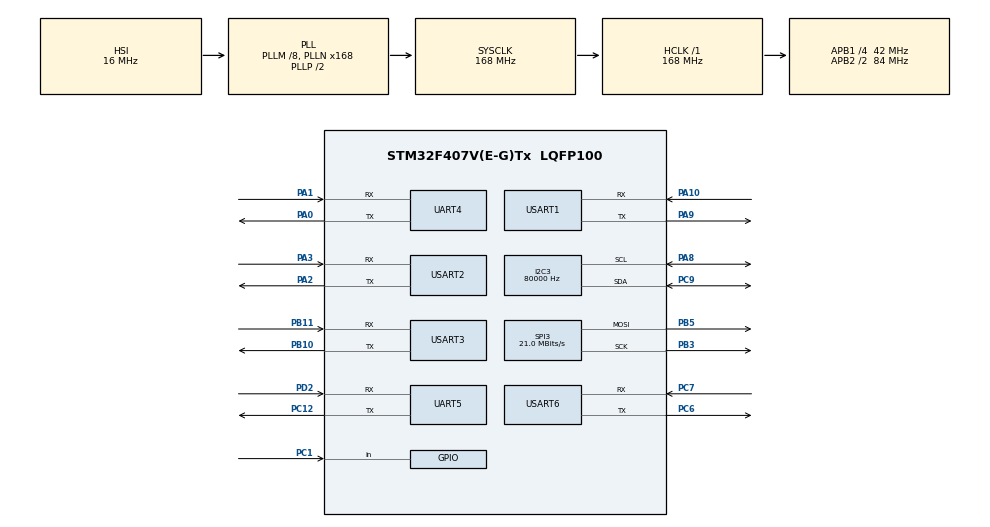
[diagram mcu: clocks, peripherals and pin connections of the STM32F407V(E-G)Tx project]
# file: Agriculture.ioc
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Dma.Request0=USART1_RX
Dma.Request1=USART1_TX
Dma.Request10=USART6_RX
Dma.Request11=USART6_TX
Dma.Request2=USART2_RX
Dma.Request3=USART2_TX
Dma.Request4=USART3_RX
Dma.Request5=USART3_TX
Dma.Request6=UART5_RX
Dma.Request7=UART5_TX
Dma.Request8=UART4_RX
Dma.Request9=UART4_TX
Dma.UART4_RX.8.Direction=DMA_PERIPH_TO_MEMORY
Dma.UART4_RX.8.FIFOMode=DMA_FIFOMODE_DISABLE
Dma.UART4_RX.8.Instance=DMA1_Stream2
Dma.UART4_RX.8.MemDataAlignment=DMA_MDATAALIGN_BYTE
Dma.UART4_RX.8.MemInc=DMA_MINC_ENABLE
Dma.UART4_RX.8.Mode=DMA_CIRCULAR
Dma.UART4_RX.8.PeriphDataAlignment=DMA_PDATAALIGN_BYTE
Dma.UART4_RX.8.PeriphInc=DMA_PINC_DISABLE
Dma.UART4_RX.8.Priority=DMA_PRIORITY_LOW
Dma.UART4_TX.9.Direction=DMA_MEMORY_TO_PERIPH
Dma.UART4_TX.9.FIFOMode=DMA_FIFOMODE_DISABLE
Dma.UART4_TX.9.Instance=DMA1_Stream4
Dma.UART4_TX.9.MemDataAlignment=DMA_MDATAALIGN_BYTE
Dma.UART4_TX.9.MemInc=DMA_MINC_ENABLE
Dma.UART4_TX.9.Mode=DMA_NORMAL
Dma.UART4_TX.9.PeriphDataAlignment=DMA_PDATAALIGN_BYTE
Dma.UART4_TX.9.PeriphInc=DMA_PINC_DISABLE
Dma.UART4_TX.9.Priority=DMA_PRIORITY_LOW
Dma.UART5_RX.6.Direction=DMA_PERIPH_TO_MEMORY
Dma.UART5_RX.6.FIFOMode=DMA_FIFOMODE_DISABLE
Dma.UART5_RX.6.Instance=DMA1_Stream0
Dma.UART5_RX.6.MemDataAlignment=DMA_MDATAALIGN_BYTE
Dma.UART5_RX.6.MemInc=DMA_MINC_ENABLE
Dma.UART5_RX.6.Mode=DMA_CIRCULAR
Dma.UART5_RX.6.PeriphDataAlignment=DMA_PDATAALIGN_BYTE
Dma.UART5_RX.6.PeriphInc=DMA_PINC_DISABLE
Dma.UART5_RX.6.Priority=DMA_PRIORITY_LOW
Dma.UART5_TX.7.Direction=DMA_MEMORY_TO_PERIPH
Dma.UART5_TX.7.FIFOMode=DMA_FIFOMODE_DISABLE
Dma.UART5_TX.7.Instance=DMA1_Stream7
Dma.UART5_TX.7.MemDataAlignment=DMA_MDATAALIGN_BYTE
Dma.UART5_TX.7.MemInc=DMA_MINC_ENABLE
Dma.UART5_TX.7.Mode=DMA_NORMAL
Dma.UART5_TX.7.PeriphDataAlignment=DMA_PDATAALIGN_BYTE
Dma.UART5_TX.7.PeriphInc=DMA_PINC_DISABLE
Dma.UART5_TX.7.Priority=DMA_PRIORITY_LOW
Dma.USART1_RX.0.Direction=DMA_PERIPH_TO_MEMORY
Dma.USART1_RX.0.FIFOMode=DMA_FIFOMODE_DISABLE
Dma.USART1_RX.0.Instance=DMA2_Stream2
Dma.USART1_RX.0.MemDataAlignment=DMA_MDATAALIGN_BYTE
Dma.USART1_RX.0.MemInc=DMA_MINC_ENABLE
Dma.USART1_RX.0.Mode=DMA_CIRCULAR
Dma.USART1_RX.0.PeriphDataAlignment=DMA_PDATAALIGN_BYTE
Dma.USART1_RX.0.PeriphInc=DMA_PINC_DISABLE
Dma.USART1_RX.0.Priority=DMA_PRIORITY_LOW
Dma.USART1_TX.1.Direction=DMA_MEMORY_TO_PERIPH
Dma.USART1_TX.1.FIFOMode=DMA_FIFOMODE_DISABLE
Dma.USART1_TX.1.Instance=DMA2_Stream7
Dma.USART1_TX.1.MemDataAlignment=DMA_MDATAALIGN_BYTE
Dma.USART1_TX.1.MemInc=DMA_MINC_ENABLE
Dma.USART1_TX.1.Mode=DMA_NORMAL
Dma.USART1_TX.1.PeriphDataAlignment=DMA_PDATAALIGN_BYTE
Dma.USART1_TX.1.PeriphInc=DMA_PINC_DISABLE
Dma.USART1_TX.1.Priority=DMA_PRIORITY_LOW
Dma.USART2_RX.2.Direction=DMA_PERIPH_TO_MEMORY
Dma.USART2_RX.2.FIFOMode=DMA_FIFOMODE_DISABLE
Dma.USART2_RX.2.Instance=DMA1_Stream5
Dma.USART2_RX.2.MemDataAlignment=DMA_MDATAALIGN_BYTE
Dma.USART2_RX.2.MemInc=DMA_MINC_ENABLE
Dma.USART2_RX.2.Mode=DMA_CIRCULAR
Dma.USART2_RX.2.PeriphDataAlignment=DMA_PDATAALIGN_BYTE
Dma.USART2_RX.2.PeriphInc=DMA_PINC_DISABLE
Dma.USART2_RX.2.Priority=DMA_PRIORITY_LOW
Dma.USART2_TX.3.Direction=DMA_MEMORY_TO_PERIPH
Dma.USART2_TX.3.FIFOMode=DMA_FIFOMODE_DISABLE
Dma.USART2_TX.3.Instance=DMA1_Stream6
Dma.USART2_TX.3.MemDataAlignment=DMA_MDATAALIGN_BYTE
Dma.USART2_TX.3.MemInc=DMA_MINC_ENABLE
Dma.USART2_TX.3.Mode=DMA_NORMAL
Dma.USART2_TX.3.PeriphDataAlignment=DMA_PDATAALIGN_BYTE
Dma.USART2_TX.3.PeriphInc=DMA_PINC_DISABLE
Dma.USART2_TX.3.Priority=DMA_PRIORITY_LOW
Dma.USART3_RX.4.Direction=DMA_PERIPH_TO_MEMORY
Dma.USART3_RX.4.FIFOMode=DMA_FIFOMODE_DISABLE
Dma.USART3_RX.4.Instance=DMA1_Stream1
Dma.USART3_RX.4.MemDataAlignment=DMA_MDATAALIGN_BYTE
Dma.USART3_RX.4.MemInc=DMA_MINC_ENABLE
Dma.USART3_RX.4.Mode=DMA_CIRCULAR
Dma.USART3_RX.4.PeriphDataAlignment=DMA_PDATAALIGN_BYTE
Dma.USART3_RX.4.PeriphInc=DMA_PINC_DISABLE
Dma.USART3_RX.4.Priority=DMA_PRIORITY_LOW
Dma.USART3_TX.5.Direction=DMA_MEMORY_TO_PERIPH
Dma.USART3_TX.5.FIFOMode=DMA_FIFOMODE_DISABLE
Dma.USART3_TX.5.Instance=DMA1_Stream3
Dma.USART3_TX.5.MemDataAlignment=DMA_MDATAALIGN_BYTE
Dma.USART3_TX.5.MemInc=DMA_MINC_ENABLE
Dma.USART3_TX.5.Mode=DMA_NORMAL
Dma.USART3_TX.5.PeriphDataAlignment=DMA_PDATAALIGN_BYTE
Dma.USART3_TX.5.PeriphInc=DMA_PINC_DISABLE
Dma.USART3_TX.5.Priority=DMA_PRIORITY_LOW
Dma.USART6_RX.10.Direction=DMA_PERIPH_TO_MEMORY
Dma.USART6_RX.10.FIFOMode=DMA_FIFOMODE_DISABLE
Dma.USART6_RX.10.Instance=DMA2_Stream1
Dma.USART6_RX.10.MemDataAlignment=DMA_MDATAALIGN_BYTE
Dma.USART6_RX.10.MemInc=DMA_MINC_ENABLE
Dma.USART6_RX.10.Mode=DMA_CIRCULAR
Dma.USART6_RX.10.PeriphDataAlignment=DMA_PDATAALIGN_BYTE
Dma.USART6_RX.10.PeriphInc=DMA_PINC_DISABLE
Dma.USART6_RX.10.Priority=DMA_PRIORITY_LOW
Dma.USART6_TX.11.Direction=DMA_MEMORY_TO_PERIPH
Dma.USART6_TX.11.FIFOMode=DMA_FIFOMODE_DISABLE
Dma.USART6_TX.11.Instance=DMA2_Stream6
Dma.USART6_TX.11.MemDataAlignment=DMA_MDATAALIGN_BYTE
Dma.USART6_TX.11.MemInc=DMA_MINC_ENABLE
Dma.USART6_TX.11.Mode=DMA_NORMAL
Dma.USART6_TX.11.PeriphDataAlignment=DMA_PDATAALIGN_BYTE
Dma.USART6_TX.11.PeriphInc=DMA_PINC_DISABLE
Dma.USART6_TX.11.Priority=DMA_PRIORITY_LOW
FREERTOS.Tasks01=Chassis_Task,17,512,StartChassis_Task,Default,NULL,Dynamic,NULL,NULL;Data_Task,40,512,StartData_Task,Default,NULL,Dynamic,NULL,NULL;Tower_Task,32,512,StartTask03,Default,NULL,Dynamic,NULL,NULL
FREERTOS.configMINIMAL_STACK_SIZE=512
FREERTOS.configTOTAL_HEAP_SIZE=40000
I2C3.ClockSpeed=80000
Mcu.Family=STM32F4
Mcu.Name=STM32F407V(E-G)Tx
Mcu.Package=LQFP100
NVIC.DMA1_Stream0_IRQn=true\:5\:0\:false\:false\:true\:true\:false\:true\:true
NVIC.DMA1_Stream1_IRQn=true\:5\:0\:false\:false\:true\:true\:false\:true\:true
NVIC.DMA1_Stream2_IRQn=true\:5\:0\:false\:false\:true\:true\:false\:true\:true
NVIC.DMA1_Stream3_IRQn=true\:5\:0\:false\:false\:true\:true\:false\:true\:true
NVIC.DMA1_Stream4_IRQn=true\:5\:0\:false\:false\:true\:true\:false\:true\:true
NVIC.DMA1_Stream5_IRQn=true\:5\:0\:false\:false\:true\:true\:false\:true\:true
NVIC.DMA1_Stream6_IRQn=true\:5\:0\:false\:false\:true\:true\:false\:true\:true
NVIC.DMA1_Stream7_IRQn=true\:5\:0\:false\:false\:true\:true\:false\:true\:true
NVIC.DMA2_Stream1_IRQn=true\:5\:0\:false\:false\:true\:true\:false\:true\:true
NVIC.DMA2_Stream2_IRQn=true\:5\:0\:false\:false\:true\:true\:false\:true\:true
NVIC.DMA2_Stream6_IRQn=true\:5\:0\:false\:false\:true\:true\:false\:true\:true
NVIC.DMA2_Stream7_IRQn=true\:5\:0\:false\:false\:true\:true\:false\:true\:true
NVIC.PriorityGroup=NVIC_PRIORITYGROUP_4
NVIC.TIM6_DAC_IRQn=true\:15\:0\:false\:false\:true\:false\:false\:true\:true
NVIC.TimeBase=TIM6_DAC_IRQn
NVIC.TimeBaseIP=TIM6
NVIC.UART4_IRQn=true\:5\:0\:false\:false\:true\:true\:true\:true\:true
NVIC.UART5_IRQn=true\:5\:0\:false\:false\:true\:true\:false\:true\:true
NVIC.USART1_IRQn=true\:5\:0\:false\:false\:true\:true\:false\:true\:true
NVIC.USART2_IRQn=true\:5\:0\:false\:false\:true\:true\:false\:true\:true
NVIC.USART3_IRQn=true\:5\:0\:false\:false\:true\:true\:false\:true\:true
NVIC.USART6_IRQn=true\:5\:0\:false\:false\:true\:true\:true\:true\:true
PA0-WKUP.Mode=Asynchronous
PA0-WKUP.Signal=UART4_TX
PA1.Mode=Asynchronous
PA1.Signal=UART4_RX
PA10.Mode=Asynchronous
PA10.Signal=USART1_RX
PA13.Mode=Serial_Wire
PA13.Signal=SYS_JTMS-SWDIO
PA14.Mode=Serial_Wire
PA14.Signal=SYS_JTCK-SWCLK
PA2.Mode=Asynchronous
PA2.Signal=USART2_TX
PA3.Mode=Asynchronous
PA3.Signal=USART2_RX
PA8.GPIO_PuPd=GPIO_PULLUP
PA8.Mode=I2C
PA8.Signal=I2C3_SCL
PA9.Mode=Asynchronous
PA9.Signal=USART1_TX
PB10.Mode=Asynchronous
PB10.Signal=USART3_TX
PB11.Mode=Asynchronous
PB11.Signal=USART3_RX
PB3.Mode=TX_Only_Simplex_Unidirect_Master
PB3.Signal=SPI3_SCK
PB5.Mode=TX_Only_Simplex_Unidirect_Master
PB5.Signal=SPI3_MOSI
PC1.Signal=GPIO_Input
PC12.Mode=Asynchronous
PC12.Signal=UART5_TX
PC14-OSC32_IN.Mode=LSE-External-Oscillator
PC14-OSC32_IN.Signal=RCC_OSC32_IN
PC15-OSC32_OUT.Mode=LSE-External-Oscillator
PC15-OSC32_OUT.Signal=RCC_OSC32_OUT
PC6.Mode=Asynchronous
PC6.Signal=USART6_TX
PC7.Mode=Asynchronous
PC7.Signal=USART6_RX
PC9.GPIO_PuPd=GPIO_PULLUP
PC9.Mode=I2C
PC9.Signal=I2C3_SDA
PD2.Mode=Asynchronous
PD2.Signal=UART5_RX
PH0-OSC_IN.Mode=HSE-External-Oscillator
PH0-OSC_IN.Signal=RCC_OSC_IN
PH1-OSC_OUT.Mode=HSE-External-Oscillator
PH1-OSC_OUT.Signal=RCC_OSC_OUT
ProjectManager.HeapSize=0x200
ProjectManager.StackSize=0x400
ProjectManager.TargetToolchain=Makefile
RCC.48MHZClocksFreq_Value=84000000
RCC.AHBFreq_Value=168000000
RCC.APB1CLKDivider=RCC_HCLK_DIV4
RCC.APB1Freq_Value=42000000
RCC.APB1TimFreq_Value=84000000
RCC.APB2CLKDivider=RCC_HCLK_DIV2
RCC.APB2Freq_Value=84000000
RCC.APB2TimFreq_Value=168000000
RCC.CortexFreq_Value=168000000
RCC.HCLKFreq_Value=168000000
RCC.HSE_VALUE=25000000
RCC.HSI_VALUE=16000000
RCC.PLLM=8
RCC.PLLN=168
RCC.SYSCLKFreq_VALUE=168000000
RCC.SYSCLKSource=RCC_SYSCLKSOURCE_PLLCLK
RCC.VCOOutputFreq_Value=336000000
SPI3.BaudRatePrescaler=SPI_BAUDRATEPRESCALER_2
SPI3.CalculateBaudRate=21.0 MBits/s
SPI3.Direction=SPI_DIRECTION_2LINES
SPI3.Mode=SPI_MODE_MASTER
SPI3.VirtualType=VM_MASTER
UART4.VirtualMode=Asynchronous
UART5.VirtualMode=Asynchronous
USART1.VirtualMode=VM_ASYNC
USART2.VirtualMode=VM_ASYNC
USART3.VirtualMode=VM_ASYNC
USART6.VirtualMode=VM_ASYNC
VP_FREERTOS_VS_CMSIS_V2.Mode=CMSIS_V2
VP_SYS_VS_tim6.Mode=TIM6
board=custom

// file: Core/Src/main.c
/* USER CODE BEGIN Header */
/**
  ******************************************************************************
  * @file           : main.c
  * @brief          : Main program body
  ******************************************************************************
  * @attention
  *
  * Copyright (c) 2026 STMicroelectronics.
  * All rights reserved.
  *
  * This software is licensed under terms that can be found in the LICENSE file
  * in the root directory of this software component.
  * If no LICENSE file comes with this software, it is provided AS-IS.
  *
  ******************************************************************************
  */
/* USER CODE END Header */
#include "main.h"
#include "cmsis_os.h"
#include "dma.h"
#include "i2c.h"
#include "spi.h"
#include "usart.h"
#include "gpio.h"

/* USER CODE BEGIN Includes */
#include "lcd_spi_154.h"
#include "jetson_coord.h"
/* USER CODE END Includes */

void SystemClock_Config(void);
void MX_FREERTOS_Init(void);

int main(void)
{

  /* MCU Configuration--------------------------------------------------------*/

  /* Reset of all peripherals, Initializes the Flash interface and the Systick. */
  HAL_Init();

  /* Configure the system clock */
  SystemClock_Config();

  /* Initialize all configured peripherals */
  MX_GPIO_Init();
  MX_DMA_Init();
  MX_USART1_UART_Init();
  MX_USART2_UART_Init();
  MX_USART3_UART_Init();
  MX_UART5_Init();
  MX_SPI3_Init();
  MX_UART4_Init();
  MX_USART6_UART_Init();
  MX_I2C3_Init();
  /* USER CODE BEGIN 2 */
  SPI_LCD_Init();	  /* 初始化液晶屏 */
  Coord_Init();         /* 启动 UART4 单字节接收：上位机 Jetson 坐标 */
  /* USER CODE END 2 */

  /* Init scheduler */
  osKernelInitialize();  /* Call init function for freertos objects (in cmsis_os2.c) */
  MX_FREERTOS_Init();

  /* Start scheduler */
  osKernelStart();

  /* We should never get here as control is now taken by the scheduler */

  /* Infinite loop */
  while (1)
  {

  }
}

void SystemClock_Config(void)
{
  RCC_OscInitTypeDef RCC_OscInitStruct = {0};
  RCC_ClkInitTypeDef RCC_ClkInitStruct = {0};

  /** Configure the main internal regulator output voltage
  */
  __HAL_RCC_PWR_CLK_ENABLE();
  __HAL_PWR_VOLTAGESCALING_CONFIG(PWR_REGULATOR_VOLTAGE_SCALE1);

  /** Initializes the RCC Oscillators according to the specified parameters
  * in the RCC_OscInitTypeDef structure.
  */
  RCC_OscInitStruct.OscillatorType = RCC_OSCILLATORTYPE_HSI;
  RCC_OscInitStruct.HSIState = RCC_HSI_ON;
  RCC_OscInitStruct.HSICalibrationValue = RCC_HSICALIBRATION_DEFAULT;
  RCC_OscInitStruct.PLL.PLLState = RCC_PLL_ON;
  RCC_OscInitStruct.PLL.PLLSource = RCC_PLLSOURCE_HSI;
  RCC_OscInitStruct.PLL.PLLM = 8;
  RCC_OscInitStruct.PLL.PLLN = 168;
  RCC_OscInitStruct.PLL.PLLP = RCC_PLLP_DIV2;
  RCC_OscInitStruct.PLL.PLLQ = 4;
  if (HAL_RCC_OscConfig(&RCC_OscInitStruct) != HAL_OK)
  {
    Error_Handler();
  }

  /** Initializes the CPU, AHB and APB buses clocks
  */
  RCC_ClkInitStruct.ClockType = RCC_CLOCKTYPE_HCLK|RCC_CLOCKTYPE_SYSCLK
                              |RCC_CLOCKTYPE_PCLK1|RCC_CLOCKTYPE_PCLK2;
  RCC_ClkInitStruct.SYSCLKSource = RCC_SYSCLKSOURCE_PLLCLK;
  RCC_ClkInitStruct.AHBCLKDivider = RCC_SYSCLK_DIV1;
  RCC_ClkInitStruct.APB1CLKDivider = RCC_HCLK_DIV4;
  RCC_ClkInitStruct.APB2CLKDivider = RCC_HCLK_DIV2;

  if (HAL_RCC_ClockConfig(&RCC_ClkInitStruct, FLASH_LATENCY_5) != HAL_OK)
  {
    Error_Handler();
  }
}

void HAL_TIM_PeriodElapsedCallback(TIM_HandleTypeDef *htim)
{
  if (htim->Instance == TIM6)
  {
    HAL_IncTick();
  }
}

void Error_Handler(void)
{
  __disable_irq();
  while (1)
  {
  }
}

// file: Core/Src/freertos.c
/* USER CODE BEGIN Header */
/**
  ******************************************************************************
  * File Name          : freertos.c
  * Description        : Code for freertos applications
  ******************************************************************************
  * @attention
  *
  * Copyright (c) 2026 STMicroelectronics.
  * All rights reserved.
  *
  * This software is licensed under terms that can be found in the LICENSE file
  * in the root directory of this software component.
  * If no LICENSE file comes with this software, it is provided AS-IS.
  *
  ******************************************************************************
  */
/* USER CODE END Header */

#include "FreeRTOS.h"
#include "task.h"
#include "main.h"
#include "cmsis_os.h"

/* USER CODE BEGIN Includes */
#include "icm42688.h"
#include "laser.h"
#include "zdt_motor.h"
#include "tower_motor.h"
#include "jetson_coord.h"
#include "claw.h"
#include "lcd_spi_154.h"
#include "lcd_fonts.h"
#include <stdio.h>
#include <stdlib.h>
/* USER CODE END Includes */

/* USER CODE BEGIN PD */
#define IMU_LOOP_MS              10U
/* 麦轮按运动方向选用电机基础转速（RPM），满足各段停车条件后直接停车。 */
#define CHASSIS_STRAIGHT_RPM      50   /* 纵移：向前或向后。原 100 改为 50 */
#define CHASSIS_SIDEWAYS_RPM      50   /* 侧移：向左或向右，包含定距左移。 */
#define CHASSIS_EXIT_DISTANCE_MM 700.0f /* 12 段左移距离（mm） */

/* 塔台捡拾控制参数 */
#define TOWER_ARM_WORK_PULSES      (-1600)  /* 电机 6 作业点，距上电零点伸出 1600 脉冲 */
#define TOWER_ARM_EXTENDED_PULSES  (-2900)  /* 电机 6 防堵转上限：最多伸出 2900 脉冲（驱动坐标 -2900，原点 0），避免顶到机械限位堵转 */
#define TOWER_CORR_DEADBAND    10     /* 纠偏死区：|误差| <= 10 像素视为已对准 */
#define TOWER_CORR_IN_POS_CNT  3      /* 连续 N 帧在死区内才算对准 */
#define TOWER_CORR_K_Y         1.0f   /* 转台(电机5)纠 Y 的比例增益 */
#define TOWER_CORR_K_X         1.0f   /* 作业臂(电机6)纠 X 的比例增益 */
#define TOWER_CORR_MAX_PULSES  800    /* 单次纠偏最大脉冲（限幅，防冲过头） */
#define TOWER_CORR_MAX_MOVES   30     /* 每轴最多发送的纠偏动作数 */
#define TOWER_CORR_TIMEOUT_MS 6000     /* 单轴纠偏时间上限 */
#define TOWER_COORD_TIMEOUT_MS 500    /* 视觉断流时结束本轮纠偏 */
#define TOWER_RETURN_STOP_MARGIN_MS 100U  /* 转台回零估时外的余量（ms），之后主动停车 */
#define TOWER_DROP_POSITION   (-3600) /* 放蛋位置，相对转台零点的脉冲数 */
#define TOWER_CLAW_MOVE_MS      500U   /* 开爪和闭爪指令中的 T0500，单位 ms */
#define TOWER_LIFT_PULSES_PER_MM  164.95f   /* 实测：3200 脉冲下降 19.4mm */
#define TOWER_LIFT_DOWN_MM        112.0f     /* 下降高度(mm)，自由改这里 */
#define TOWER_LIFT_DOWN_PULSES    ((int32_t)(TOWER_LIFT_DOWN_MM * TOWER_LIFT_PULSES_PER_MM))
#define TOWER_LIFT_TOP_SETTLE_MS  1000U     /* 提升后到转台动作的最短等待 */

/* 旧塔台流程参数（保留旧代码使用） */
#define TOWER_CORR_MAX_ITER     30     /* 单轴纠偏最大循环次数 */
#define TOWER_CORR_DELAY_MS     150    /* 每次纠偏后等待电机+视觉更新的时间 */
#define TOWER_TURNTABLE_MS(p)   ((uint32_t)((uint32_t)(p) * 568UL / 1000UL))  /* 转台(33RPM)移动毫秒 */
#define TOWER_LIFT_TRAVEL_MS    3000   /* 升降到位等待 */
#define TOWER_POST_DELAY_MS     2000U  /* 放蛋回程后，底盘先行驶 2000 ms 再允许下一轮检测。 */
/* USER CODE END PD */

/* USER CODE BEGIN Variables */
static const osThreadAttr_t s_imu_task_attributes = {
  .name = "IMU_Task",
  .stack_size = 512 * 4,
  .priority = osPriorityHigh2,
};

/* 传感器共享数据：由 DataTask 定时刷新，其他任务只读 */
volatile uint16_t g_front_mm;
volatile uint16_t g_right_mm;
volatile uint16_t g_back_mm;
volatile bool     g_front_valid;
volatile bool     g_right_valid;
volatile bool     g_back_valid;

/* 上位机 Jetson 传来的物块坐标（Data_Task 刷新，Tower_Task 作业结束时清零） */
volatile int32_t  g_coord_x;
volatile int32_t  g_coord_y;
volatile bool     g_coord_valid;

/* 首次就位或视觉触发时，底盘停车后置 g_tower_working，塔台作业完成后交回 UART5。 */
volatile bool     g_tower_working = false;
volatile bool     g_tower_ready = false;   /* 首次就位完成且可响应新坐标。 */
static volatile bool s_tower_initialized = false;  /* 电机 5、6、7 的上电零点均已设置。 */
/* 塔台命令发送失败后锁定作业，TOWER_MOTOR_NUM 表示无故障。 */
static volatile TowerMotorID s_tower_fault = TOWER_MOTOR_NUM;
/* 显示本轮正在执行的阶段，故障时保留最后状态以便区分视觉、升降和夹爪问题。 */
static char *volatile s_tower_status = "Tower idle";
static volatile bool s_route_active;

/* 底盘状态机当前状态号（Chassis_Task 写，Data_Task 只读显示） */
volatile int32_t  g_state = 0;

/* 航向角闭环目标(°)：按钮按下时锁存当前陀螺仪读数。
 * 上电后要等 Jetson 开机才发车，等待期间陀螺仪已累计漂移，0° 已不可用。 */
volatile float g_yaw_target_deg = 0.0f;

/* USER CODE END Variables */
/* Definitions for Chassis_Task */
osThreadId_t Chassis_TaskHandle;
const osThreadAttr_t Chassis_Task_attributes = {
  .name = "Chassis_Task",
  .stack_size = 512 * 4,
  .priority = (osPriority_t) osPriorityBelowNormal1,
};
/* Definitions for Data_Task */
osThreadId_t Data_TaskHandle;
const osThreadAttr_t Data_Task_attributes = {
  .name = "Data_Task",
  .stack_size = 512 * 4,
  .priority = (osPriority_t) osPriorityHigh,
};
/* Definitions for Tower_Task */
osThreadId_t Tower_TaskHandle;
const osThreadAttr_t Tower_Task_attributes = {
  .name = "Tower_Task",
  .stack_size = 512 * 4,
  .priority = (osPriority_t) osPriorityAboveNormal,
};

/* USER CODE BEGIN FunctionPrototypes */
static void StartImuTask(void *argument);
static bool Tower_WaitFreshPoint(uint32_t *frame, CoordPoint *point);
static bool Tower_SendAbsolute(TowerMotorID id, int32_t target);
static bool Tower_MoveArm(int32_t *position, int32_t target);
static bool Tower_ReturnTurntable(int32_t position);
/* USER CODE END FunctionPrototypes */

void StartChassis_Task(void *argument);
void StartData_Task(void *argument);
void StartTask03(void *argument);

void MX_FREERTOS_Init(void); /* (MISRA C 2004 rule 8.1) */

void MX_FREERTOS_Init(void) {

  /* Create the thread(s) */
  /* creation of Chassis_Task */
  Chassis_TaskHandle = osThreadNew(StartChassis_Task, NULL, &Chassis_Task_attributes);

  /* creation of Data_Task */
  Data_TaskHandle = osThreadNew(StartData_Task, NULL, &Data_Task_attributes);

  /* creation of Tower_Task */
  /* 单独调试底盘时不创建塔台任务，避免塔台动作和接管 UART5。 */
  Tower_TaskHandle = osThreadNew(StartTask03, NULL, &Tower_Task_attributes);

  /* USER CODE BEGIN RTOS_THREADS */
  osThreadNew(StartImuTask, NULL, &s_imu_task_attributes);
  /* USER CODE END RTOS_THREADS */

}

void StartChassis_Task(void *argument)
{
  /* USER CODE BEGIN StartChassis_Task */
  g_state = 0;

  /* 上电初始化：电机、激光、夹爪反馈接收 */
  ZDT_Motor_Init();
  Laser_Init();
  Claw_Init();

  /* 底盘调试启用 PC1 启动和路线状态机，按键后等待 3 秒再发车。 */
#if 1
  /* 上电后等待按下 PC1 按键才开始行驶（PC1 另一端接 GND，低电平有效） */
  while (HAL_GPIO_ReadPin(GPIOC, GPIO_PIN_1) != GPIO_PIN_RESET)
  {
    osDelay(20);
  }
  /* 按钮按下即锁存当前航向为闭环目标：上电等待 Jetson 开机期间陀螺仪已漂移，0° 已不可用 */
  {
    float yaw0;
    g_yaw_target_deg = ICM42688_GetYaw(&yaw0) ? yaw0 : 0.0f;
  }
  osDelay(3000);
  s_route_active = true;

  /* 各状态的停止条件：所有激光距离都在指定区间内才切换 */
  static const ZDT_AuxCond c_right_le100[1]               = { {LASER_RIGHT, 0, 110} };
  static const ZDT_AuxCond c_back_le80[1]                = { {LASER_BACK, 0, 80} };
  static const ZDT_AuxCond c_right_ge775_front_ge200[1]  = { {LASER_RIGHT, 775, 0}};
  static const ZDT_AuxCond c_front_le80_right_ge200[1]   = { {LASER_FRONT, 0, 100}};
  static const ZDT_AuxCond c_right_ge1455_back_ge200[1]  = { {LASER_RIGHT, 1455, 0}};
  static const ZDT_AuxCond c_back_le80_right_ge200[1]    = { {LASER_BACK, 0, 100}};
  static const ZDT_AuxCond c_right_ge2130_front_ge200[1] = { {LASER_RIGHT, 2130, 0}};
  static const ZDT_AuxCond c_right_ge2900_back_ge200[1]  = { {LASER_RIGHT, 2900, 0}};
  static const ZDT_AuxCond c_right_ge3540_front_ge200[1] = { {LASER_RIGHT, 3540, 0}};

  for (;;)
  {
    bool moved;
    /* ZDT_Chassis_Drive 的最后两项是外环纠偏激光和目标墙距（mm）。 */
    switch (g_state)
    {
      case 0:   /* 向右平移，右侧激光纠偏(目标 100mm)，右侧距离不大于 110mm 时停车。 */
        moved = ZDT_Chassis_Drive_Monitored(MOVE_RIGHT, CHASSIS_SIDEWAYS_RPM, c_right_le100, 1, LASER_FRONT, 40);
        break;
      case 1:   /* 向后直行，后侧距离不大于 80 mm 时直接停车。 */
        moved = ZDT_Chassis_Drive_Monitored(MOVE_BACKWARD, CHASSIS_STRAIGHT_RPM, c_back_le80, 1, LASER_RIGHT, 80);
        break;
      case 2:   /* 向左，直到 right>775 且 front>200 */
        moved = ZDT_Chassis_Drive(MOVE_LEFT, CHASSIS_SIDEWAYS_RPM, c_right_ge775_front_ge200, 1, LASER_BACK, 55);
        break;
      case 3:   /* 首次把电机 6 移到作业点，再开始本段行驶和视觉触发。 */
        if (s_tower_initialized) ZDT_Chassis_ParkForTower();
        moved = ZDT_Chassis_Drive(MOVE_FORWARD, CHASSIS_STRAIGHT_RPM, c_front_le80_right_ge200, 1, LASER_RIGHT, 50);
        break;
      case 4:   /* 向左，直到 right>1455 且 back>200 */
        moved = ZDT_Chassis_Drive(MOVE_LEFT, CHASSIS_SIDEWAYS_RPM, c_right_ge1455_back_ge200, 1, LASER_FRONT, 40);
        break;
      case 5:   /* 向后，直到 back<80 且 right>200 */
        moved = ZDT_Chassis_Drive(MOVE_BACKWARD, CHASSIS_STRAIGHT_RPM, c_back_le80_right_ge200, 1 , LASER_RIGHT, 50);
        break;
      case 6:   /* 向左，直到 right>2130 且 front>200 */
        moved = ZDT_Chassis_Drive(MOVE_LEFT, CHASSIS_SIDEWAYS_RPM, c_right_ge2130_front_ge200, 1, LASER_BACK, 55);
        break;
      case 7:   /* 向前，直到 front<80 且 right>200 */
        moved = ZDT_Chassis_Drive(MOVE_FORWARD, CHASSIS_STRAIGHT_RPM, c_front_le80_right_ge200, 1, LASER_RIGHT, 50);
        break;
      case 8:   /* 向左，直到 right>2900 且 back>200 */
        moved = ZDT_Chassis_Drive(MOVE_LEFT, CHASSIS_SIDEWAYS_RPM, c_right_ge2900_back_ge200, 1, LASER_FRONT, 40);
        break;
      case 9:   /* 向后，直到 back<80 且 right>200 */
        moved = ZDT_Chassis_Drive(MOVE_BACKWARD, CHASSIS_STRAIGHT_RPM, c_back_le80_right_ge200, 1 , LASER_RIGHT, 50);
        break;
      case 10:  /* 向左，直到 right>3540 且 front>200 */
        moved = ZDT_Chassis_Drive(MOVE_LEFT, CHASSIS_SIDEWAYS_RPM, c_right_ge3540_front_ge200, 1, LASER_BACK, 55);
        break;
      case 11:  /* 向前，直到 front<80 且 right>200 */
        moved = ZDT_Chassis_Drive(MOVE_FORWARD, CHASSIS_STRAIGHT_RPM, c_front_le80_right_ge200, 1, LASER_RIGHT, 50);
        break;
      case 12:  /* 按定距左移（mm），识别到鸡蛋停车，作业后续走估算的剩余距离。 */
        moved = ZDT_Chassis_Move_Direct(MOVE_LEFT, CHASSIS_EXIT_DISTANCE_MM, CHASSIS_SIDEWAYS_RPM);
        break;

      default:  /* 到达路线终点后停车待机。 */
        s_route_active = false;
        ZDT_Chassis_Stop();
        osDelay(1000);
        continue;
    }

#if ZDT_CHASSIS_FAULT_STOP_ENABLED
    /* 开启故障停车时，运动失败进入停车待机状态。 */
    if (!moved)
    {
      g_state = -1;
      continue;
    }
#else
    /* 调试时屏蔽故障停车，运动函数返回后按路线等待并进入下一段。 */
    (void)moved;
#endif

    /* 停下后等待 500ms */
    osDelay(500);
    g_state++;
  }
#endif

  for (;;)
  {
    osDelay(1000);
  }
  /* USER CODE END StartChassis_Task */
}

void StartData_Task(void *argument)
{
  /* USER CODE BEGIN StartData_Task */
  /* 显示和视觉坐标刷新由本任务处理，航向采样使用独立任务。 */
  static const char *const yaw_status_text[] = {
    [ICM42688_STARTING] = "INIT",
    [ICM42688_SCL_LOW] = "SCL0",
    [ICM42688_SDA_LOW] = "SDA0",
    [ICM42688_BUS_BUSY] = "BUSY",
    [ICM42688_NO_ACK] = "NACK",
    [ICM42688_ID_ERROR] = "ID",
    [ICM42688_CONFIG_ERROR] = "CFG",
    [ICM42688_CALIBRATING] = "CAL",
    [ICM42688_NOT_STILL] = "STILL",
    [ICM42688_DATA_ERROR] = "DATA",
    [ICM42688_READY] = "DATA", /* 已校准，但最近的样本过期 */
  };

  /* LCD 显示初始化：设置字体与数字补位方式 */
  LCD_SetAsciiFont(&ASCII_Font16);
  LCD_ShowNumMode(Fill_Space);

  for (;;)
  {
    CoordPoint pt;

    g_front_mm    = Laser_GetDistance(LASER_FRONT);
    g_right_mm    = Laser_GetDistance(LASER_RIGHT);
    g_back_mm     = Laser_GetDistance(LASER_BACK);
    g_front_valid = Laser_IsValid(LASER_FRONT);
    g_right_valid = Laser_IsValid(LASER_RIGHT);
    g_back_valid  = Laser_IsValid(LASER_BACK);

    /* 实时读取上位机传来的物块坐标 */
    g_coord_valid = Coord_GetPoint(&pt);
    if (g_coord_valid)
    {
        g_coord_x = pt.x;
        g_coord_y = pt.y;
    }

    /* 将读取值显示在 LCD 上 */
    /* 串口故障显示电机地址，其他情况显示塔台作业阶段或开爪回读结果。 */
    static char *const tower_fault_text[] = {"Motor 5 TX ERR", "Motor 6 TX ERR", "Motor 7 TX ERR"};
    TowerMotorID tower_fault = s_tower_fault;
    char tower_text[21];
    char *tower_status = tower_fault < TOWER_MOTOR_NUM ? tower_fault_text[tower_fault] : s_tower_status;
    snprintf(tower_text, sizeof(tower_text), "%-20s", tower_status);
    LCD_DisplayString(10, 30, tower_text);
    LCD_DisplayString(10, 60, "Front:");
    LCD_DisplayNumber(70, 60, (int32_t)g_front_mm, 5);

    LCD_DisplayString(10, 90, "Right:");
    LCD_DisplayNumber(70, 90, (int32_t)g_right_mm, 5);

    LCD_DisplayString(10, 120, "Back:");
    LCD_DisplayNumber(70, 120, (int32_t)g_back_mm, 5);

    LCD_DisplayString(10, 150, "X:");
    LCD_DisplayNumber(70, 150, g_coord_x, 5);

    LCD_DisplayString(10, 180, "Y:");
    LCD_DisplayNumber(70, 180, g_coord_y, 5);

    LCD_DisplayString(10, 210, "State:");
    LCD_DisplayNumber(70, 210, g_state, 3);

    float yaw;
    char yaw_text[6];
    if (ICM42688_GetYaw(&yaw))
    {
      unsigned int tenths = (unsigned int)(yaw * 10.0f + 0.5f) % 3600U;
      snprintf(yaw_text, sizeof(yaw_text), "%3u.%u", tenths / 10U, tenths % 10U);
    }
    else
    {
      ICM42688_Status status = ICM42688_GetStatus();
      if (status == ICM42688_BUS_ERROR)
        snprintf(yaw_text, sizeof(yaw_text), "B%04X", (unsigned int)(ICM42688_GetBusError() & 0xFFFFU));
      else
        snprintf(yaw_text, sizeof(yaw_text), "%5s", yaw_status_text[status]);
    }
    LCD_DisplayString(116, 210, "YAW:");
    LCD_DisplayString(156, 210, yaw_text);

    osDelay(20);   /* 20ms = 50Hz */
  }
  /* USER CODE END StartData_Task */
}

void StartTask03(void *argument)
{
  /* USER CODE BEGIN StartTask03 */
  int32_t err_x, err_y;
  int32_t off_6 = 0;   /* 电机 6 相对上电零点的累计脉冲偏移（电机 7 已改绝对定位，无需软件跟踪） */
  TowerMotorID fault_motor;

  /* 上电使能三轴并记录当前位置为零点，夹爪由自身上电逻辑保持打开。 */
  TowerMotor_Init();
  /* 三轴都需要有效的上电坐标，任一使能或清零命令发送失败就停止塔台任务。 */
  for (TowerMotorID id = TOWER_TURNTABLE; id < TOWER_MOTOR_NUM; id++)
  {
    if (!TowerMotor_Enable(id, true))
    {
      s_tower_fault = id;
      osThreadExit();
    }
  }
  osDelay(500);   /* 等电机使能后稳定，再设零点，避免零点漂移导致回零过冲 */
  for (TowerMotorID id = TOWER_TURNTABLE; id < TOWER_MOTOR_NUM; id++)
  {
    if (!TowerMotor_ZeroPosition(id))
    {
      s_tower_fault = id;
      osThreadExit();
    }
  }
  /* 首次 UART5 交接发生在 state 3。只伸出电机 6，完成后交还底盘并开放视觉触发。 */
  s_tower_initialized = true;
  while (!g_tower_working) osDelay(5);
  fault_motor = TOWER_ARM;
  if (!Tower_MoveArm(&off_6, TOWER_ARM_WORK_PULSES)) goto tower_fault;
  g_tower_working = false;

  for (;;)
  {
    /* 底盘识别到 Y 在目标 ±200 像素内的鸡蛋后先停车，再交接 UART5 开始纠偏。 */
    g_tower_ready = true;
    while (!g_tower_working)
    {
      osDelay(5);
    }
    g_tower_ready = false;

    /* 电机 5 逐次走完 Y 纠偏脉冲，累计位移用于估算转台后续行程。 */
    s_tower_status = "Align Y";
    fault_motor = TOWER_TURNTABLE;
    int32_t off_5 = 0;
    int in_pos_y = 0;
    uint32_t frame = Coord_GetFrameCount();
    CoordPoint point;
    for (int i = 0; i < TOWER_CORR_MAX_ITER; i++)
    {
      if (!Tower_WaitFreshPoint(&frame, &point)) break;   /* 视觉断流，结束纠偏 */

      err_y = point.y - TOWER_Y_TARGET;
      if (err_y >= -TOWER_CORR_DEADBAND && err_y <= TOWER_CORR_DEADBAND)
      {
        if (++in_pos_y >= TOWER_CORR_IN_POS_CNT) break;
        continue;
      }
      in_pos_y = 0;

      int32_t pulses = (int32_t)((float)err_y * TOWER_CORR_K_Y);
      if (pulses >  TOWER_CORR_MAX_PULSES) pulses =  TOWER_CORR_MAX_PULSES;
      if (pulses < -TOWER_CORR_MAX_PULSES) pulses = -TOWER_CORR_MAX_PULSES;
      pulses = -pulses;   /* 电机5 纠偏方向取反 */

      if (!TowerMotor_Move(TOWER_TURNTABLE, pulses)) goto tower_fault;
      off_5 += pulses;
      osDelay(TowerMotor_TravelTimeMs(TOWER_TURNTABLE, pulses) + TOWER_ACTION_GAP_MS);
      frame = Coord_GetFrameCount();
    }

    /* 停住电机 5 并等 500 ms，之后由已在作业点的电机 6 纠 X。 */
    if (!TowerMotor_Stop(TOWER_TURNTABLE)) goto tower_fault;
    osDelay(TOWER_ACTION_GAP_MS);
    fault_motor = TOWER_ARM;
    /* 电机 6 在 [-2900, 0] 脉冲内纠 X。对准、到限位或视觉超时都结束本阶段。 */
    s_tower_status = "Align X";
    int in_pos_x = 0;
    int moves_x = 0;
    frame = Coord_GetFrameCount();
    while (Tower_WaitFreshPoint(&frame, &point))
    {
      err_x = point.x - TOWER_X_TARGET;
      if (err_x >= -TOWER_CORR_DEADBAND && err_x <= TOWER_CORR_DEADBAND)
      {
        if (++in_pos_x >= TOWER_CORR_IN_POS_CNT) break;
        continue;
      }
      in_pos_x = 0;
      if (off_6 == TOWER_ARM_EXTENDED_PULSES || moves_x >= TOWER_CORR_MAX_ITER) break;

      int32_t pulses = (int32_t)((float)err_x * TOWER_CORR_K_X);
      if (pulses >  TOWER_CORR_MAX_PULSES) pulses =  TOWER_CORR_MAX_PULSES;
      if (pulses < -TOWER_CORR_MAX_PULSES) pulses = -TOWER_CORR_MAX_PULSES;

      int32_t target = off_6 + pulses;
      if (target < TOWER_ARM_EXTENDED_PULSES) target = TOWER_ARM_EXTENDED_PULSES;
      if (target > 0) target = 0;
      if (target == off_6) break;   /* 到原点且纠偏还要求继续回缩。 */

      if (!Tower_MoveArm(&off_6, target)) goto tower_fault;
      moves_x++;
      frame = Coord_GetFrameCount();
    }

    /* 沿用塔台调试流程，Y、X 依次纠偏结束就下降。电机 7 的预计行程结束后再等 500 ms 闭爪。 */
    s_tower_status = off_6 == TOWER_ARM_EXTENDED_PULSES ? "Lower at X limit" : "Lift down";
    fault_motor = TOWER_LIFT;
    if (!Tower_SendAbsolute(TOWER_LIFT, -TOWER_LIFT_DOWN_PULSES)) goto tower_fault;
    osDelay(TowerMotor_TravelTimeMs(TOWER_LIFT, TOWER_LIFT_DOWN_PULSES) + TOWER_ACTION_GAP_MS);
    if (!Claw_Close())
    {
      s_tower_status = "Close TX ERR";
      goto claw_fault;
    }
    s_tower_status = "Close sent";
    osDelay(TOWER_CLAW_MOVE_MS + TOWER_ACTION_GAP_MS);

    /* 先抬升电机 7 回上电零点（0 脉冲），再收回电机 6。 */
    s_tower_status = "Lift up";
    if (!Tower_SendAbsolute(TOWER_LIFT, 0)) goto tower_fault;
    osDelay(TowerMotor_TravelTimeMs(TOWER_LIFT, TOWER_LIFT_DOWN_PULSES) + TOWER_ACTION_GAP_MS);

    /* 5.5 电机 7 抬升后，将作业臂收回到上电零点（0 脉冲），再转动塔台。 */
    s_tower_status = "Arm home";
    fault_motor = TOWER_ARM;
    if (!Tower_MoveArm(&off_6, 0)) goto tower_fault;

    /* 转台移到固定放蛋点（绝对脉冲），暂时发不出时重试同一目标。 */
    s_tower_status = "Moving to drop";
    fault_motor = TOWER_TURNTABLE;
    {
      int32_t dist = TOWER_DROP_POSITION - off_5;
      if (!Tower_SendAbsolute(TOWER_TURNTABLE, TOWER_DROP_POSITION)) goto tower_fault;
      osDelay(TowerMotor_TravelTimeMs(TOWER_TURNTABLE, dist) + TOWER_ACTION_GAP_MS);
    }

    /* 到固定放蛋点发送开爪指令，等待 T0500 的 500 ms 后直接回程。 */
    if (!Claw_Open())
    {
      s_tower_status = "Open TX ERR";
      goto claw_fault;
    }
    s_tower_status = "Open sent";
    osDelay(TOWER_CLAW_MOVE_MS);

    /* 转台先回到上电零点，随后电机 6 恢复到 -1600 脉冲的作业点。 */
    if (!Tower_ReturnTurntable(TOWER_DROP_POSITION)) goto tower_fault;
    fault_motor = TOWER_ARM;
    if (!Tower_MoveArm(&off_6, TOWER_ARM_WORK_PULSES)) goto tower_fault;

    /* 放蛋回程结束后清除本轮坐标，恢复底盘。 */
    taskENTER_CRITICAL();
    Coord_ClearPoint();
    g_coord_x = 0;
    g_coord_y = 0;
    g_coord_valid = false;
    taskEXIT_CRITICAL();

    /* 先交还 UART5 恢复底盘，再沿用调试流程等待 2000 ms 进入下一轮。 */
    g_tower_working = false;
    osDelay(TOWER_POST_DELAY_MS);
  }

tower_fault:
  /* 保持底盘停车请求，只重试停车命令。串口恢复后也结束塔台任务，防止从未知位置继续。 */
  s_tower_fault = fault_motor;
  while (!TowerMotor_Stop(fault_motor)) osDelay(50);
  osThreadExit();

claw_fault:
  /* 开闭指令发送失败时保留停车状态。 */
  osThreadExit();
  /* USER CODE END StartTask03 */
}

/* USER CODE BEGIN Application */
static bool Tower_WaitFreshPoint(uint32_t *frame, CoordPoint *point)
{
  uint32_t start = osKernelGetTickCount();
  do
  {
    if (Coord_GetPoint(point) && point->frame != *frame)
    {
      *frame = point->frame;
      return true;
    }
    osDelay(5);
  } while (osKernelGetTickCount() - start < TOWER_COORD_TIMEOUT_MS);
  return false;
}

static bool Tower_SendAbsolute(TowerMotorID id, int32_t target)
{
  /* 绝对目标以脉冲为单位。短暂串口故障后仍发同一目标，最多 3 次，间隔 50 ms。 */
  for (int attempt = 0; attempt < 3; attempt++)
  {
    if (TowerMotor_MoveAbsolute(id, target)) return true;
    if (attempt < 2) osDelay(50);
  }
  return false;
}

static bool Tower_MoveArm(int32_t *position, int32_t target)
{
  if (target == *position) return true;

  /* 电机 6 发出绝对位置后，按脉冲差等待预计运动时间及 500 ms 间隔，再更新位置。 */
  if (!Tower_SendAbsolute(TOWER_ARM, target)) return false;
  osDelay(TowerMotor_TravelTimeMs(TOWER_ARM, target - *position) + TOWER_ACTION_GAP_MS);
  *position = target;
  return true;
}

static bool Tower_ReturnTurntable(int32_t position)
{
  if (position == 0) return true;

  /* 绝对模式回零：目标是驱动坐标 0。绝对指令幂等，串口超时后即使重发也只回 0，
   * 不会像相对位移那样再走一段（之前转台过转的根因）。发送失败由上层停车，估时后主动停车兜底。 */
  if (!Tower_SendAbsolute(TOWER_TURNTABLE, 0)) return false;
  osDelay(TowerMotor_TravelTimeMs(TOWER_TURNTABLE, position) + TOWER_RETURN_STOP_MARGIN_MS);
  if (!TowerMotor_Stop(TOWER_TURNTABLE)) return false;
  osDelay(TOWER_ACTION_GAP_MS);
  return true;
}

static void StartImuTask(void *argument)
{
  (void)argument;
  for (;;)
  {
    if (ICM42688_Init())
    {
      while (!ICM42688_CalibrateYaw() && ICM42688_GetStatus() == ICM42688_NOT_STILL)
        osDelay(250);

      uint32_t next_tick = osKernelGetTickCount();
      while (ICM42688_GetStatus() == ICM42688_READY)
      {
        next_tick += IMU_LOOP_MS;
        if (osDelayUntil(next_tick) != osOK) next_tick = osKernelGetTickCount();
        ICM42688_UpdateYaw();
      }
    }

    /* 行驶中失联时保留上电零点，路线结束后再重新校准。 */
    while (s_route_active) osDelay(IMU_LOOP_MS);
    osDelay(250);
  }
}
/* USER CODE END Application */
